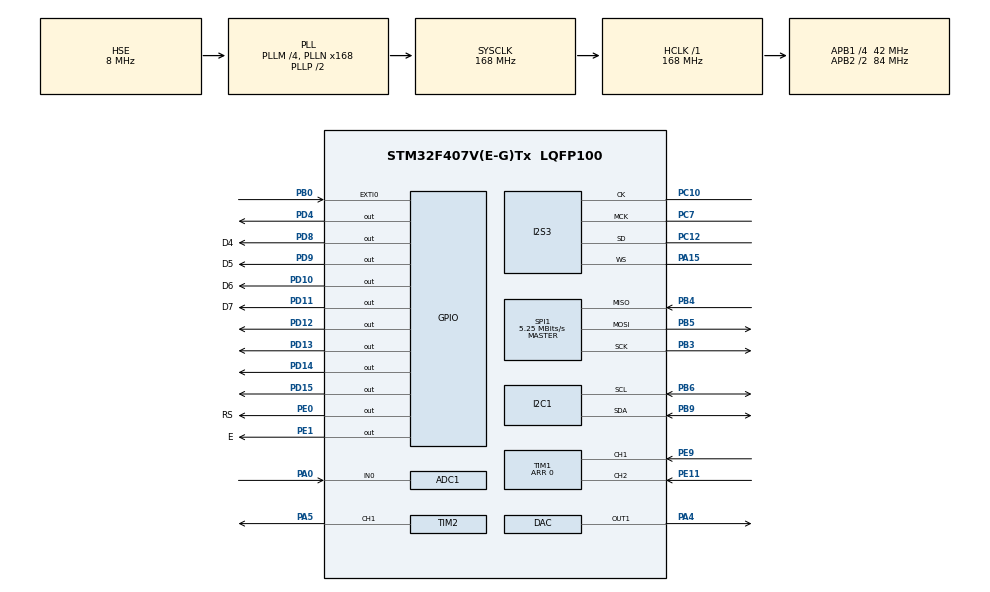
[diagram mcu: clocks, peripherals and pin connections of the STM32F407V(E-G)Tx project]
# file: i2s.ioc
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ADC1.Channel-0\#ChannelRegularConversion=ADC_CHANNEL_0
ADC1.NbrOfConversionFlag=1
ADC1.Rank-0\#ChannelRegularConversion=1
ADC1.SamplingTime-0\#ChannelRegularConversion=ADC_SAMPLETIME_3CYCLES
ADC1.master=1
Dma.Request0=SPI3_TX
Dma.SPI3_TX.0.Direction=DMA_MEMORY_TO_PERIPH
Dma.SPI3_TX.0.FIFOMode=DMA_FIFOMODE_ENABLE
Dma.SPI3_TX.0.FIFOThreshold=DMA_FIFO_THRESHOLD_FULL
Dma.SPI3_TX.0.Instance=DMA1_Stream5
Dma.SPI3_TX.0.MemBurst=DMA_MBURST_SINGLE
Dma.SPI3_TX.0.MemDataAlignment=DMA_MDATAALIGN_HALFWORD
Dma.SPI3_TX.0.MemInc=DMA_MINC_ENABLE
Dma.SPI3_TX.0.Mode=DMA_CIRCULAR
Dma.SPI3_TX.0.PeriphBurst=DMA_PBURST_SINGLE
Dma.SPI3_TX.0.PeriphDataAlignment=DMA_PDATAALIGN_HALFWORD
Dma.SPI3_TX.0.PeriphInc=DMA_PINC_DISABLE
Dma.SPI3_TX.0.Priority=DMA_PRIORITY_LOW
I2S3.AudioFreq=I2S_AUDIOFREQ_48K
I2S3.ErrorAudioFreq=1.72 %
I2S3.FullDuplexMode=I2S_FULLDUPLEXMODE_DISABLE
I2S3.Instance=SPI$Index
I2S3.RealAudioFreq=48.828 KHz
I2S3.VirtualMode=I2S_MODE_MASTER
Mcu.Family=STM32F4
Mcu.Name=STM32F407V(E-G)Tx
Mcu.Package=LQFP100
NVIC.DMA1_Stream5_IRQn=true\:0\:0\:false\:false\:true\:false
NVIC.EXTI0_IRQn=true\:0\:0\:false\:false\:true\:true
NVIC.PriorityGroup=NVIC_PRIORITYGROUP_4
NVIC.TIM2_IRQn=true\:0\:0\:false\:false\:true\:true
PA0-WKUP.Signal=ADCx_IN0
PA15.Mode=Half_Duplex_Master
PA15.Signal=I2S3_WS
PA4.Signal=COMP_DAC1_group
PA5.Signal=S_TIM2_CH1_ETR
PB0.GPIO_PuPd=GPIO_PULLDOWN
PB0.Signal=GPXTI0
PB3.Mode=Full_Duplex_Master
PB3.Signal=SPI1_SCK
PB4.Mode=Full_Duplex_Master
PB4.Signal=SPI1_MISO
PB5.Mode=Full_Duplex_Master
PB5.Signal=SPI1_MOSI
PB6.Mode=I2C
PB6.Signal=I2C1_SCL
PB9.Mode=I2C
PB9.Signal=I2C1_SDA
PC10.Mode=Half_Duplex_Master
PC10.Signal=I2S3_CK
PC12.Mode=Half_Duplex_Master
PC12.Signal=I2S3_SD
PC7.Mode=Master_Clock_Activated
PC7.Signal=I2S3_MCK
PD10.GPIO_Label=D6
PD10.Signal=GPIO_Output
PD11.GPIO_Label=D7
PD11.Signal=GPIO_Output
PD12.Signal=GPIO_Output
PD13.Signal=GPIO_Output
PD14.Signal=GPIO_Output
PD15.Signal=GPIO_Output
PD4.Signal=GPIO_Output
PD8.GPIO_Label=D4
PD8.Signal=GPIO_Output
PD9.GPIO_Label=D5
PD9.Signal=GPIO_Output
PE0.GPIO_Label=RS
PE0.Signal=GPIO_Output
PE1.GPIO_Label=E
PE1.Signal=GPIO_Output
PE11.Signal=S_TIM1_CH2
PE9.Signal=S_TIM1_CH1
PH0-OSC_IN.Mode=HSE-External-Oscillator
PH0-OSC_IN.Signal=RCC_OSC_IN
PH1-OSC_OUT.Mode=HSE-External-Oscillator
PH1-OSC_OUT.Signal=RCC_OSC_OUT
ProjectManager.HeapSize=0x200
ProjectManager.StackSize=0x400
ProjectManager.TargetToolchain=SW4STM32
RCC.48MHZClocksFreq_Value=84000000
RCC.AHBFreq_Value=168000000
RCC.APB1CLKDivider=RCC_HCLK_DIV4
RCC.APB1Freq_Value=42000000
RCC.APB1TimFreq_Value=84000000
RCC.APB2CLKDivider=RCC_HCLK_DIV2
RCC.APB2Freq_Value=84000000
RCC.APB2TimFreq_Value=168000000
RCC.CortexFreq_Value=168000000
RCC.HCLKFreq_Value=168000000
RCC.HSE_VALUE=8000000
RCC.HSI_VALUE=16000000
RCC.LSE_VALUE=32768
RCC.PLLI2SN=50
RCC.PLLM=4
RCC.PLLN=168
RCC.PLLSourceVirtual=RCC_PLLSOURCE_HSE
RCC.SYSCLKFreq_VALUE=168000000
RCC.SYSCLKSource=RCC_SYSCLKSOURCE_PLLCLK
RCC.VCOOutputFreq_Value=336000000
SH.ADCx_IN0.0=ADC1_IN0,IN0
SH.COMP_DAC1_group.0=DAC_OUT1,DAC_OUT1
SH.S_TIM1_CH1.0=TIM1_CH1,Encoder_Interface
SH.S_TIM1_CH2.0=TIM1_CH2,Encoder_Interface
SH.S_TIM2_CH1_ETR.0=TIM2_CH1,PWM Generation1 CH1
SPI1.BaudRatePrescaler=SPI_BAUDRATEPRESCALER_16
SPI1.CalculateBaudRate=5.25 MBits/s
SPI1.Direction=SPI_DIRECTION_2LINES
SPI1.Mode=SPI_MODE_MASTER
SPI1.VirtualType=VM_MASTER
TIM1.CounterMode=TIM_COUNTERMODE_UP
TIM1.EncoderMode=TIM_ENCODERMODE_TI12
TIM1.IC1Filter=15
TIM1.IC1Polarity=TIM_ICPOLARITY_RISING
TIM1.IC2Filter=15
TIM1.IC2Polarity=TIM_ICPOLARITY_RISING
TIM1.Period=0
TIM2.Channel-PWM\ Generation1\ CH1=TIM_CHANNEL_1
TIM2.Period=20
TIM2.Prescaler=249
TIM2.Pulse-PWM\ Generation1\ CH1=17
TIM2.TIM_MasterOutputTrigger=TIM_TRGO_UPDATE
VP_TIM2_VS_ClockSourceINT.Mode=Internal
board=custom

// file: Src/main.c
/**
  ******************************************************************************
  * @file           : main.c
  * @brief          : Main program body
  ******************************************************************************
  ** This notice applies to any and all portions of this file
  * that are not between comment pairs USER CODE BEGIN and
  * USER CODE END. Other portions of this file, whether
  * inserted by the user or by software development tools
  * are owned by their respective copyright owners.
  *
  * COPYRIGHT(c) 2019 STMicroelectronics
  *
  * Redistribution and use in source and binary forms, with or without modification,
  * are permitted provided that the following conditions are met:
  *   1. Redistributions of source code must retain the above copyright notice,
  *      this list of conditions and the following disclaimer.
  *   2. Redistributions in binary form must reproduce the above copyright notice,
  *      this list of conditions and the following disclaimer in the documentation
  *      and/or other materials provided with the distribution.
  *   3. Neither the name of STMicroelectronics nor the names of its contributors
  *      may be used to endorse or promote products derived from this software
  *      without specific prior written permission.
  *
  * THIS SOFTWARE IS PROVIDED BY THE COPYRIGHT HOLDERS AND CONTRIBUTORS "AS IS"
  * AND ANY EXPRESS OR IMPLIED WARRANTIES, INCLUDING, BUT NOT LIMITED TO, THE
  * IMPLIED WARRANTIES OF MERCHANTABILITY AND FITNESS FOR A PARTICULAR PURPOSE ARE
  * DISCLAIMED. IN NO EVENT SHALL THE COPYRIGHT HOLDER OR CONTRIBUTORS BE LIABLE
  * FOR ANY DIRECT, INDIRECT, INCIDENTAL, SPECIAL, EXEMPLARY, OR CONSEQUENTIAL
  * DAMAGES (INCLUDING, BUT NOT LIMITED TO, PROCUREMENT OF SUBSTITUTE GOODS OR
  * SERVICES; LOSS OF USE, DATA, OR PROFITS; OR BUSINESS INTERRUPTION) HOWEVER
  * CAUSED AND ON ANY THEORY OF LIABILITY, WHETHER IN CONTRACT, STRICT LIABILITY,
  * OR TORT (INCLUDING NEGLIGENCE OR OTHERWISE) ARISING IN ANY WAY OUT OF THE USE
  * OF THIS SOFTWARE, EVEN IF ADVISED OF THE POSSIBILITY OF SUCH DAMAGE.
  *
  ******************************************************************************
  */
#include "main.h"
#include "stm32f4xx_hal.h"

/* USER CODE BEGIN Includes */
#include <string.h>
#include <math.h>
#include "ff.h"
#include "MY_CS43L22.h"
#include "STM_MY_LCD16X2.h"

#define  	FA_READ         	0x01
/* USER CODE END Includes */

ADC_HandleTypeDef hadc1;

DAC_HandleTypeDef hdac;

I2C_HandleTypeDef hi2c1;

I2S_HandleTypeDef hi2s3;
DMA_HandleTypeDef hdma_spi3_tx;

SPI_HandleTypeDef hspi1;

TIM_HandleTypeDef htim1;
TIM_HandleTypeDef htim2;

/* USER CODE BEGIN PV */
/* Private variables ---------------------------------------------------------*/

// Sound variables
uint8_t wavBuffer1[512];			// first buffer for storing and playing music
uint8_t wavBuffer2[512];			// second buffer for storing and playing music

int flag1 = 0;
int flag2 = 0;

int c = 0;							// counter

// FatFS variables
static FATFS FatFs;    				// handle to FatFs device like disc or SD card
FRESULT fresult;	       			// to storage results of operations on FatFs library
FIL file;                  			// handle to open file
DWORD bytes_read;           		// number of read bytes
FSIZE_t ofs = 0;					// file offset

// Encoder variables
volatile uint16_t pulse_count;		// impulse counter
volatile uint16_t position;			// counter of switched positions
uint16_t posBuffer = 1;
uint16_t timPosBuffer = 1;

// Potentiometer variables
uint16_t potentiometerValue;
char volumeLVL[15];
int volumeHasChanged;

// Listing/parsing variables
char song_list[128][128];			// [MAX_NUMBER_STRINGS][MAX_STRING_SIZE] songs names with .WAV file extension
char pure_song_list[128][128];		// songs names without .WAV file extension (for displaying purposes)
uint32_t data_size[128];
int lseek_starts[128];
int number_of_songs = 0;			// number of songs on device

// Button variables
int start_stop = 1;					// flag for starting and stopping player

/* USER CODE END PV */

void SystemClock_Config(void);
static void MX_GPIO_Init(void);
static void MX_DMA_Init(void);
static void MX_I2C1_Init(void);
static void MX_I2S3_Init(void);
static void MX_DAC_Init(void);
static void MX_TIM2_Init(void);
static void MX_SPI1_Init(void);
static void MX_TIM1_Init(void);
static void MX_ADC1_Init(void);
void HAL_TIM_MspPostInit(TIM_HandleTypeDef *htim);

/* USER CODE BEGIN PFP */
/* Private function prototypes -----------------------------------------------*/

// External interrupt for start/stop button
void HAL_GPIO_EXTI_Callback(uint16_t GPIO_Pin)
{
	if(HAL_GPIO_ReadPin(GPIOB, GPIO_PIN_0) == GPIO_PIN_SET)
	{
		for(volatile int i = 0; i < 2000000; i++){}			// delay for proper start and stop operation
		if(start_stop == 1)
		{
			start_stop = 0;
			NVIC_EnableIRQ(TIM2_IRQn);						// enable timer
		}
		else
		{
			start_stop = 1;
			NVIC_DisableIRQ(TIM2_IRQn);						// disable timer
		}
	}
}

/* USER CODE END PFP */

/* USER CODE BEGIN 0 */

// Listing function - writes every song name with .WAV extension to song_list[] array
FRESULT list_files(char* path)
{
	FRESULT res;
	DIR dir;
	FILINFO fno;

	res = f_opendir(&dir, path);							// open the directory
	if(res == FR_OK)
	{
		for(int i = 0; i < 256; i++)
		{
			res = f_readdir(&dir, &fno);					// read a directory item
			if(res != FR_OK || fno.fname[0] == 0) break;	// break on error or end of directory
			strcpy(song_list[i], fno.fname);
			number_of_songs++;
		}
		number_of_songs--;
		f_closedir(&dir);									// close the directory
	}
	return res;
}

// Function that modifies names of songs (cut .WAV extension) and writes them into pure_song_list[] array
void clear_song_names()
{
	for(int i = 1; i <= number_of_songs; i++)
	{
		int x = 0;

		while(1)
		{
			if(song_list[i][x] == '.' && song_list[i][x+1] == 'W' && song_list[i][x+2] == 'A' && song_list[i][x+3] == 'V')
			{
				pure_song_list[i][x] = '\0';
				pure_song_list[i][x+1] = '\0';
				pure_song_list[i][x+2] = '\0';
				pure_song_list[i][x+3] = '\0';
				break;
			}
			pure_song_list[i][x] = song_list[i][x];
			x++;
		}
	}
}

// Parsing function - writes every size of song into data_size[] array
void parse_headers()
{
	FIL fil;
	unsigned char buffer4[4];
	int x = 0;

	for(int i = 1; i <= number_of_songs; i++)
	{
		f_open(&fil, song_list[i] , FA_READ);
		x = 0;

		while(1)
		{
			f_lseek(&fil, x);
			f_read(&fil, buffer4, (FSIZE_t)4, &bytes_read);

			if(buffer4[0] == 'd' && buffer4[1] == 'a' && buffer4[2] == 't' && buffer4[3] == 'a')
			{
				lseek_starts[i] = x + 8;
				f_lseek(&fil, x + 4);
				f_read(&fil, buffer4, (FSIZE_t)4, &bytes_read);
				data_size[i] = buffer4[0] |
						(buffer4[1] << 8) |
						(buffer4[2] << 16) |
						(buffer4[3] << 24 );
				break;
			}
			x++;
		}
		f_close(&fil);
	}
}

void display()
{
	LCD1602_clear();
	LCD1602_print(pure_song_list[position]);
	LCD1602_2ndLine();
	LCD1602_print(volumeLVL);
}

int volumeChange(int x) //volume changing function
{
	int times; // variable which counts how many times
	int value = 0;
	if(x < 100)
	{
		CS43_Stop();

		for(int i = 0; i < 16; i++)
		{
			volumeLVL[i] = '\0'; // allows to "show nothing " on the LCD screen
		}
		if(volumeHasChanged != value) // checking if the volumeLVL has changed since a milisecind ago,
		{							// if so display funntion is executed to display changes on the screen
			display();
		}
		volumeHasChanged=value; // saving current volumneLVL

	}
	else
	{
		CS43_Start();
		value = x / 82;
		times = value / 3;
		for(int i = 0; i < 16; i++)
		{
			if(times >= i)
			{
				volumeLVL[i]='|';
			}
			else
			{
				volumeLVL[i]='\0';
			}
		}

		if(volumeHasChanged != value)
		{
			display();
		}
		volumeHasChanged=value;

	}
	return value;

}

/* USER CODE END 0 */

int main(void)
{

  /* MCU Configuration----------------------------------------------------------*/

  /* Reset of all peripherals, Initializes the Flash interface and the Systick. */
  HAL_Init();

  /* Configure the system clock */
  SystemClock_Config();

  /* Initialize all configured peripherals */
  MX_GPIO_Init();
  MX_DMA_Init();
  MX_I2C1_Init();
  MX_I2S3_Init();
  MX_DAC_Init();
  MX_TIM2_Init();
  MX_SPI1_Init();
  MX_TIM1_Init();
  MX_ADC1_Init();
  /* USER CODE BEGIN 2 */

  // Timer is disabled because GGbutton doesn't play music at the beginning
  NVIC_DisableIRQ(TIM2_IRQn);

  // Operations like listing and parsing on microSD card
  fresult = f_mount(&FatFs, "", 0);

  if (fresult == FR_OK)
  {
	  fresult = list_files("/");
	  if (fresult == FR_OK)
	  {
		  clear_song_names();
		  parse_headers();
	  }
  }

  fresult = f_open(&file, song_list[1] , FA_READ);		// open file with first song

  // Encoder
  HAL_TIM_Encoder_Start(&htim1, TIM_CHANNEL_ALL);		// start timer encoder
  TIM1->ARR = number_of_songs * 4 - 1;					// calculating reload register

  // LCD display
  LCD1602_Begin4BIT(RS_GPIO_Port,RS_Pin,E_Pin,D4_GPIO_Port,D4_Pin,D5_Pin,D6_Pin,D7_Pin);
  LCD1602_clear();
  LCD1602_print(pure_song_list[position + 1]);
  LCD1602_noCursor();
  LCD1602_noBlink();
  LCD1602_2ndLine();
  LCD1602_print(volumeLVL);

  // Sound
  CS43_Init(hi2c1, MODE_ANALOG); 						// CS43 interface initialization
  CS43_Enable_RightLeft(CS43_RIGHT_LEFT);				// enable two channels
  CS43_Start();											// start CS43
  HAL_I2S_Transmit_DMA(&hi2s3, (uint16_t*)" ", 1);
  HAL_DAC_Start(&hdac, DAC_CHANNEL_1); 					// start DAC
//  HAL_DAC_Start(&hdac, DAC_CHANNEL_2); 				// TODO: try to play stereo music
  HAL_TIM_Base_Start_IT(&htim2); 						// starting "main" timer

  HAL_TIM_PWM_Start(&htim2, TIM_CHANNEL_1);

  /* USER CODE END 2 */

  /* Infinite loop */
  /* USER CODE BEGIN WHILE */
  while (1)
  {
	  HAL_ADC_Start(&hadc1);							//start potentiometer checking

	  pulse_count = TIM1->CNT + 4;
	  position = pulse_count/4;							// transform pulse_count to consecutive natural numbers

	  // read song samples and write them to wavBuffer1
	  if(flag1 == 0 && flag2 == 1)
	  {
		  fresult = f_read(&file, wavBuffer1, (FSIZE_t)512, &bytes_read);
		  flag1 = 1;
	  }

	  // read song samples and write them to wavBuffer2
	  else if(flag1 == 1 && flag2 == 0)
	  {
		  fresult = f_read(&file, wavBuffer2, (FSIZE_t)512, &bytes_read);
		  flag1 = 0;
	  }

	  // switching songs
	  if(posBuffer != position)
	  {
		  fresult = f_close(&file);
		  fresult = f_open(&file, song_list[position] , FA_READ);
		  display(); 									// after switching song, display have to change
		  posBuffer = position;
		  start_stop = 1;
		  NVIC_DisableIRQ(TIM2_IRQn);					// stop playing after switching song
	  }

	  if(HAL_ADC_PollForConversion(&hadc1, 10) == HAL_OK)	// function which checks the volumeLVL on potentiometer
	  {
		  potentiometerValue = HAL_ADC_GetValue(&hadc1);
	  }

	  CS43_SetVolume(volumeChange(potentiometerValue));	// volume setting

  /* USER CODE END WHILE */

  }

}

void SystemClock_Config(void)
{

  RCC_OscInitTypeDef RCC_OscInitStruct;
  RCC_ClkInitTypeDef RCC_ClkInitStruct;
  RCC_PeriphCLKInitTypeDef PeriphClkInitStruct;

    /**Configure the main internal regulator output voltage
    */
  __HAL_RCC_PWR_CLK_ENABLE();

  __HAL_PWR_VOLTAGESCALING_CONFIG(PWR_REGULATOR_VOLTAGE_SCALE1);

    /**Initializes the CPU, AHB and APB busses clocks
    */
  RCC_OscInitStruct.OscillatorType = RCC_OSCILLATORTYPE_HSE;
  RCC_OscInitStruct.HSEState = RCC_HSE_ON;
  RCC_OscInitStruct.PLL.PLLState = RCC_PLL_ON;
  RCC_OscInitStruct.PLL.PLLSource = RCC_PLLSOURCE_HSE;
  RCC_OscInitStruct.PLL.PLLM = 4;
  RCC_OscInitStruct.PLL.PLLN = 168;
  RCC_OscInitStruct.PLL.PLLP = RCC_PLLP_DIV2;
  RCC_OscInitStruct.PLL.PLLQ = 4;
  if (HAL_RCC_OscConfig(&RCC_OscInitStruct) != HAL_OK)
  {
    _Error_Handler(__FILE__, __LINE__);
  }

    /**Initializes the CPU, AHB and APB busses clocks
    */
  RCC_ClkInitStruct.ClockType = RCC_CLOCKTYPE_HCLK|RCC_CLOCKTYPE_SYSCLK
                              |RCC_CLOCKTYPE_PCLK1|RCC_CLOCKTYPE_PCLK2;
  RCC_ClkInitStruct.SYSCLKSource = RCC_SYSCLKSOURCE_PLLCLK;
  RCC_ClkInitStruct.AHBCLKDivider = RCC_SYSCLK_DIV1;
  RCC_ClkInitStruct.APB1CLKDivider = RCC_HCLK_DIV4;
  RCC_ClkInitStruct.APB2CLKDivider = RCC_HCLK_DIV2;

  if (HAL_RCC_ClockConfig(&RCC_ClkInitStruct, FLASH_LATENCY_5) != HAL_OK)
  {
    _Error_Handler(__FILE__, __LINE__);
  }

  PeriphClkInitStruct.PeriphClockSelection = RCC_PERIPHCLK_I2S;
  PeriphClkInitStruct.PLLI2S.PLLI2SN = 50;
  PeriphClkInitStruct.PLLI2S.PLLI2SR = 2;
  if (HAL_RCCEx_PeriphCLKConfig(&PeriphClkInitStruct) != HAL_OK)
  {
    _Error_Handler(__FILE__, __LINE__);
  }

    /**Configure the Systick interrupt time
    */
  HAL_SYSTICK_Config(HAL_RCC_GetHCLKFreq()/1000);

    /**Configure the Systick
    */
  HAL_SYSTICK_CLKSourceConfig(SYSTICK_CLKSOURCE_HCLK);

  /* SysTick_IRQn interrupt configuration */
  HAL_NVIC_SetPriority(SysTick_IRQn, 0, 0);
}

/* ADC1 init function */
static void MX_ADC1_Init(void)
{

  ADC_ChannelConfTypeDef sConfig;

    /**Configure the global features of the ADC (Clock, Resolution, Data Alignment and number of conversion)
    */
  hadc1.Instance = ADC1;
  hadc1.Init.ClockPrescaler = ADC_CLOCK_SYNC_PCLK_DIV4;
  hadc1.Init.Resolution = ADC_RESOLUTION_12B;
  hadc1.Init.ScanConvMode = DISABLE;
  hadc1.Init.ContinuousConvMode = DISABLE;
  hadc1.Init.DiscontinuousConvMode = DISABLE;
  hadc1.Init.ExternalTrigConvEdge = ADC_EXTERNALTRIGCONVEDGE_NONE;
  hadc1.Init.ExternalTrigConv = ADC_SOFTWARE_START;
  hadc1.Init.DataAlign = ADC_DATAALIGN_RIGHT;
  hadc1.Init.NbrOfConversion = 1;
  hadc1.Init.DMAContinuousRequests = DISABLE;
  hadc1.Init.EOCSelection = ADC_EOC_SINGLE_CONV;
  if (HAL_ADC_Init(&hadc1) != HAL_OK)
  {
    _Error_Handler(__FILE__, __LINE__);
  }

    /**Configure for the selected ADC regular channel its corresponding rank in the sequencer and its sample time.
    */
  sConfig.Channel = ADC_CHANNEL_0;
  sConfig.Rank = 1;
  sConfig.SamplingTime = ADC_SAMPLETIME_3CYCLES;
  if (HAL_ADC_ConfigChannel(&hadc1, &sConfig) != HAL_OK)
  {
    _Error_Handler(__FILE__, __LINE__);
  }

}

/* DAC init function */
static void MX_DAC_Init(void)
{

  DAC_ChannelConfTypeDef sConfig;

    /**DAC Initialization
    */
  hdac.Instance = DAC;
  if (HAL_DAC_Init(&hdac) != HAL_OK)
  {
    _Error_Handler(__FILE__, __LINE__);
  }

    /**DAC channel OUT1 config
    */
  sConfig.DAC_Trigger = DAC_TRIGGER_NONE;
  sConfig.DAC_OutputBuffer = DAC_OUTPUTBUFFER_ENABLE;
  if (HAL_DAC_ConfigChannel(&hdac, &sConfig, DAC_CHANNEL_1) != HAL_OK)
  {
    _Error_Handler(__FILE__, __LINE__);
  }

}

/* I2C1 init function */
static void MX_I2C1_Init(void)
{

  hi2c1.Instance = I2C1;
  hi2c1.Init.ClockSpeed = 100000;
  hi2c1.Init.DutyCycle = I2C_DUTYCYCLE_2;
  hi2c1.Init.OwnAddress1 = 0;
  hi2c1.Init.AddressingMode = I2C_ADDRESSINGMODE_7BIT;
  hi2c1.Init.DualAddressMode = I2C_DUALADDRESS_DISABLE;
  hi2c1.Init.OwnAddress2 = 0;
  hi2c1.Init.GeneralCallMode = I2C_GENERALCALL_DISABLE;
  hi2c1.Init.NoStretchMode = I2C_NOSTRETCH_DISABLE;
  if (HAL_I2C_Init(&hi2c1) != HAL_OK)
  {
    _Error_Handler(__FILE__, __LINE__);
  }

}

/* I2S3 init function */
static void MX_I2S3_Init(void)
{

  hi2s3.Instance = SPI3;
  hi2s3.Init.Mode = I2S_MODE_MASTER_TX;
  hi2s3.Init.Standard = I2S_STANDARD_PHILIPS;
  hi2s3.Init.DataFormat = I2S_DATAFORMAT_16B;
  hi2s3.Init.MCLKOutput = I2S_MCLKOUTPUT_ENABLE;
  hi2s3.Init.AudioFreq = I2S_AUDIOFREQ_48K;
  hi2s3.Init.CPOL = I2S_CPOL_LOW;
  hi2s3.Init.ClockSource = I2S_CLOCK_PLL;
  hi2s3.Init.FullDuplexMode = I2S_FULLDUPLEXMODE_DISABLE;
  if (HAL_I2S_Init(&hi2s3) != HAL_OK)
  {
    _Error_Handler(__FILE__, __LINE__);
  }

}

/* SPI1 init function */
static void MX_SPI1_Init(void)
{

  /* SPI1 parameter configuration*/
  hspi1.Instance = SPI1;
  hspi1.Init.Mode = SPI_MODE_MASTER;
  hspi1.Init.Direction = SPI_DIRECTION_2LINES;
  hspi1.Init.DataSize = SPI_DATASIZE_8BIT;
  hspi1.Init.CLKPolarity = SPI_POLARITY_LOW;
  hspi1.Init.CLKPhase = SPI_PHASE_1EDGE;
  hspi1.Init.NSS = SPI_NSS_SOFT;
  hspi1.Init.BaudRatePrescaler = SPI_BAUDRATEPRESCALER_16;
  hspi1.Init.FirstBit = SPI_FIRSTBIT_MSB;
  hspi1.Init.TIMode = SPI_TIMODE_DISABLE;
  hspi1.Init.CRCCalculation = SPI_CRCCALCULATION_DISABLE;
  hspi1.Init.CRCPolynomial = 10;
  if (HAL_SPI_Init(&hspi1) != HAL_OK)
  {
    _Error_Handler(__FILE__, __LINE__);
  }

}

/* TIM1 init function */
static void MX_TIM1_Init(void)
{

  TIM_Encoder_InitTypeDef sConfig;
  TIM_MasterConfigTypeDef sMasterConfig;

  htim1.Instance = TIM1;
  htim1.Init.Prescaler = 0;
  htim1.Init.CounterMode = TIM_COUNTERMODE_UP;
  htim1.Init.Period = 0;
  htim1.Init.ClockDivision = TIM_CLOCKDIVISION_DIV1;
  htim1.Init.RepetitionCounter = 0;
  sConfig.EncoderMode = TIM_ENCODERMODE_TI12;
  sConfig.IC1Polarity = TIM_ICPOLARITY_RISING;
  sConfig.IC1Selection = TIM_ICSELECTION_DIRECTTI;
  sConfig.IC1Prescaler = TIM_ICPSC_DIV1;
  sConfig.IC1Filter = 15;
  sConfig.IC2Polarity = TIM_ICPOLARITY_RISING;
  sConfig.IC2Selection = TIM_ICSELECTION_DIRECTTI;
  sConfig.IC2Prescaler = TIM_ICPSC_DIV1;
  sConfig.IC2Filter = 15;
  if (HAL_TIM_Encoder_Init(&htim1, &sConfig) != HAL_OK)
  {
    _Error_Handler(__FILE__, __LINE__);
  }

  sMasterConfig.MasterOutputTrigger = TIM_TRGO_RESET;
  sMasterConfig.MasterSlaveMode = TIM_MASTERSLAVEMODE_DISABLE;
  if (HAL_TIMEx_MasterConfigSynchronization(&htim1, &sMasterConfig) != HAL_OK)
  {
    _Error_Handler(__FILE__, __LINE__);
  }

}

/* TIM2 init function */
static void MX_TIM2_Init(void)
{

  TIM_ClockConfigTypeDef sClockSourceConfig;
  TIM_MasterConfigTypeDef sMasterConfig;
  TIM_OC_InitTypeDef sConfigOC;

  htim2.Instance = TIM2;
  htim2.Init.Prescaler = 249;
  htim2.Init.CounterMode = TIM_COUNTERMODE_UP;
  htim2.Init.Period = 20;
  htim2.Init.ClockDivision = TIM_CLOCKDIVISION_DIV1;
  if (HAL_TIM_Base_Init(&htim2) != HAL_OK)
  {
    _Error_Handler(__FILE__, __LINE__);
  }

  sClockSourceConfig.ClockSource = TIM_CLOCKSOURCE_INTERNAL;
  if (HAL_TIM_ConfigClockSource(&htim2, &sClockSourceConfig) != HAL_OK)
  {
    _Error_Handler(__FILE__, __LINE__);
  }

  if (HAL_TIM_PWM_Init(&htim2) != HAL_OK)
  {
    _Error_Handler(__FILE__, __LINE__);
  }

  sMasterConfig.MasterOutputTrigger = TIM_TRGO_UPDATE;
  sMasterConfig.MasterSlaveMode = TIM_MASTERSLAVEMODE_DISABLE;
  if (HAL_TIMEx_MasterConfigSynchronization(&htim2, &sMasterConfig) != HAL_OK)
  {
    _Error_Handler(__FILE__, __LINE__);
  }

  sConfigOC.OCMode = TIM_OCMODE_PWM1;
  sConfigOC.Pulse = 9;
  sConfigOC.OCPolarity = TIM_OCPOLARITY_HIGH;
  sConfigOC.OCFastMode = TIM_OCFAST_DISABLE;
  if (HAL_TIM_PWM_ConfigChannel(&htim2, &sConfigOC, TIM_CHANNEL_1) != HAL_OK)
  {
    _Error_Handler(__FILE__, __LINE__);
  }

  HAL_TIM_MspPostInit(&htim2);

}

static void MX_DMA_Init(void)
{
  /* DMA controller clock enable */
  __HAL_RCC_DMA1_CLK_ENABLE();

  /* DMA interrupt init */
  /* DMA1_Stream5_IRQn interrupt configuration */
  HAL_NVIC_SetPriority(DMA1_Stream5_IRQn, 0, 0);
  HAL_NVIC_EnableIRQ(DMA1_Stream5_IRQn);

}

/** Configure pins as
        * Analog
        * Input
        * Output
        * EVENT_OUT
        * EXTI
*/
static void MX_GPIO_Init(void)
{

  GPIO_InitTypeDef GPIO_InitStruct;

  /* GPIO Ports Clock Enable */
  __HAL_RCC_GPIOH_CLK_ENABLE();
  __HAL_RCC_GPIOA_CLK_ENABLE();
  __HAL_RCC_GPIOB_CLK_ENABLE();
  __HAL_RCC_GPIOE_CLK_ENABLE();
  __HAL_RCC_GPIOD_CLK_ENABLE();
  __HAL_RCC_GPIOC_CLK_ENABLE();

  /*Configure GPIO pin Output Level */
  HAL_GPIO_WritePin(GPIOD, D4_Pin|D5_Pin|D6_Pin|D7_Pin
                          |GPIO_PIN_12|GPIO_PIN_13|GPIO_PIN_14|GPIO_PIN_15
                          |GPIO_PIN_4, GPIO_PIN_RESET);

  /*Configure GPIO pin Output Level */
  HAL_GPIO_WritePin(GPIOE, RS_Pin|E_Pin, GPIO_PIN_RESET);

  /*Configure GPIO pin : PB0 */
  GPIO_InitStruct.Pin = GPIO_PIN_0;
  GPIO_InitStruct.Mode = GPIO_MODE_IT_RISING;
  GPIO_InitStruct.Pull = GPIO_PULLDOWN;
  HAL_GPIO_Init(GPIOB, &GPIO_InitStruct);

  /*Configure GPIO pins : D4_Pin D5_Pin D6_Pin D7_Pin
                           PD12 PD13 PD14 PD15
                           PD4 */
  GPIO_InitStruct.Pin = D4_Pin|D5_Pin|D6_Pin|D7_Pin
                          |GPIO_PIN_12|GPIO_PIN_13|GPIO_PIN_14|GPIO_PIN_15
                          |GPIO_PIN_4;
  GPIO_InitStruct.Mode = GPIO_MODE_OUTPUT_PP;
  GPIO_InitStruct.Pull = GPIO_NOPULL;
  GPIO_InitStruct.Speed = GPIO_SPEED_FREQ_LOW;
  HAL_GPIO_Init(GPIOD, &GPIO_InitStruct);

  /*Configure GPIO pins : RS_Pin E_Pin */
  GPIO_InitStruct.Pin = RS_Pin|E_Pin;
  GPIO_InitStruct.Mode = GPIO_MODE_OUTPUT_PP;
  GPIO_InitStruct.Pull = GPIO_NOPULL;
  GPIO_InitStruct.Speed = GPIO_SPEED_FREQ_LOW;
  HAL_GPIO_Init(GPIOE, &GPIO_InitStruct);

  /* EXTI interrupt init*/
  HAL_NVIC_SetPriority(EXTI0_IRQn, 0, 0);
  HAL_NVIC_EnableIRQ(EXTI0_IRQn);

}

/* USER CODE BEGIN 4 */
void HAL_TIM_PeriodElapsedCallback(TIM_HandleTypeDef *htim)
{
	/* Prevent unused argument(s) compilation warning */
	UNUSED(htim);
	/* NOTE : This function Should not be modified, when the callback is needed,
            the __HAL_TIM_PeriodElapsedCallback could be implemented in the user file
	 */

	if(htim->Instance == TIM2)
	{
		if(flag2 == 0)
		{
			HAL_DAC_SetValue(&hdac, DAC_CHANNEL_1, DAC_ALIGN_8B_R, (uint32_t)wavBuffer1[c]);
//			HAL_DAC_SetValue(&hdac, DAC_CHANNEL_1, DAC_ALIGN_8B_R, 0);		// TODO: try to play stereo music
			c++;

			// If 512 bytes played from wavBuffer1, change flag2 to write (in main)
			// next 512 bytes into wavBuffer1 and start playing samples from wavBuffer1
			if(c == 512)
			{
				c = 0;
				flag2 = 1;

				if(timPosBuffer != posBuffer)			// if song was switched
				{
					ofs = 0;
					timPosBuffer = posBuffer;
				}
				ofs = ofs + (FSIZE_t)512;

				if(ofs > data_size[position])			// end of song
				{
					ofs = 0;
					fresult = f_lseek(&file, ofs);
					start_stop = 1;
					NVIC_DisableIRQ(TIM2_IRQn);
				}
				fresult = f_lseek(&file, ofs);
			}
		}

		else if(flag2 == 1)
		{
			HAL_DAC_SetValue(&hdac, DAC_CHANNEL_1, DAC_ALIGN_8B_R, (uint32_t)wavBuffer2[c]);
//			HAL_DAC_SetValue(&hdac, DAC_CHANNEL_1, DAC_ALIGN_8B_R, 0);		// TODO: try to play stereo music
			c++;

			// If 512 bytes played from wavBuffer2, change flag2 to write (in main)
			// next 512 bytes into wavBuffer2 and start playing samples from wavBuffer1
			if(c == 512)
			{
				c = 0;
				flag2 = 0;

				if(timPosBuffer != posBuffer)			// if song was switched
				{
					ofs = 0;
					timPosBuffer = posBuffer;
				}
				ofs = ofs + (FSIZE_t)512;

				if(ofs > data_size[position])			// end of song
				{
					ofs = 0;
					fresult = f_lseek(&file, ofs);
					start_stop = 1;
					NVIC_DisableIRQ(TIM2_IRQn);
				}
				fresult = f_lseek(&file, ofs);
			}
		}
	}
}
/* USER CODE END 4 */

void _Error_Handler(char *file, int line)
{
  while(1)
  {
  }
}

/************************ (C) COPYRIGHT STMicroelectronics *****END OF FILE****/
